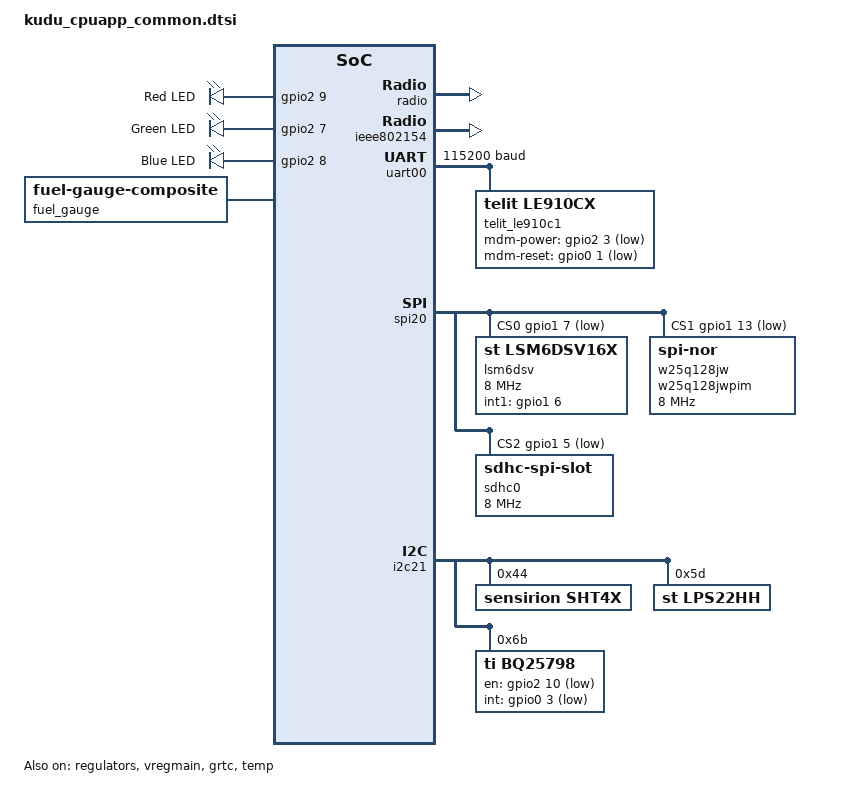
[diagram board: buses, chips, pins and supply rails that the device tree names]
/*
 * Copyright (c) 2025 Embeint Inc
 *
 * SPDX-License-Identifier: Apache-2.0
 */

/* This file is common to the secure and non-secure domain */

#include "kudu-pinctrl.dtsi"
#include <zephyr/dt-bindings/battery/battery.h>
#include <zephyr/dt-bindings/sensor/lps22hh.h>

/ {
	chosen {
		zephyr,console = &rtt0;
		zephyr,flash-controller = &rram_controller;
		zephyr,flash = &cpuapp_rram;
	};

	rtt0: rtt_chan0 {
		compatible = "segger,rtt-uart";
		status = "okay";
	};

	leds {
		compatible = "gpio-leds";
		led0: led_0 {
			gpios = <&gpio2 9 GPIO_ACTIVE_HIGH>;
			label = "Red LED";
		};
		led1: led_1 {
			gpios = <&gpio2 7 GPIO_ACTIVE_HIGH>;
			label = "Green LED";
		};
		led2: led_2 {
			gpios = <&gpio2 8 GPIO_ACTIVE_HIGH>;
			label = "Blue LED";
		};
	};

	fuel_gauge: fuel_gauge {
		compatible = "zephyr,fuel-gauge-composite";
		source-primary = <&bq25798>;
		device-chemistry = "lithium-ion-polymer";
		ocv-capacity-table-0 = <BATTERY_OCV_CURVE_LITHIUM_ION_POLYMER_DEFAULT>;
		charge-full-design-microamp-hours = <13400000>;
		fuel-gauge-channels;
	};

	aliases {
		led0 = &led0;
		led1 = &led1;
		led2 = &led2;
		watchdog0 = &wdt31;
		fuel-gauge0 = &fuel_gauge;
		environmental0 = &sht4x;
		environmental1 = &lps22hh;
		imu0 = &lsm6dsv;
		modem = &telit_le910c1;
		gnss = &telit_le910c1_gnss;
	};
};

&cpuapp_sram {
	status = "okay";
};

&lfxo {
	load-capacitors = "internal";
	load-capacitance-femtofarad = <9000>;
};

&hfxo {
	load-capacitors = "internal";
	load-capacitance-femtofarad = <9000>;
};

&regulators {
	status = "okay";
};

&vregmain {
	status = "okay";
	regulator-initial-mode = <NRF5X_REG_MODE_DCDC>;
};

&grtc {
	owned-channels = <0 1 2 3 4 5 6 7 8 9 10 11>;
	/* Channels 7-11 reserved for Zero Latency IRQs, 3-4 for FLPR */
	child-owned-channels = <3 4 7 8 9 10 11>;
	status = "okay";
};

&gpio0 {
	status = "okay";
};

&gpio1 {
	status = "okay";
};

&gpio2 {
	status = "okay";
};

&gpiote20 {
	status = "okay";
};

&gpiote30 {
	status = "okay";
};

&radio {
	status = "okay";
};

&ieee802154 {
	status = "okay";
};

&temp {
	status = "okay";
};

&clock {
	status = "okay";
};

&uart00 {
	status = "okay";
	pinctrl-0 = <&uart00_default>;
	pinctrl-1 = <&uart00_sleep>;
	pinctrl-names = "default", "sleep";
	current-speed = <115200>;
	hw-flow-control;

	telit_le910c1: telit_le910c1 {
		compatible = "telit,le910cx";
		status = "okay";
		mdm-power-gpios = <&gpio2 3 (GPIO_ACTIVE_LOW | GPIO_OPEN_DRAIN)>;
		mdm-reset-gpios = <&gpio0 1 (GPIO_ACTIVE_LOW | GPIO_OPEN_DRAIN)>;
		/*
		 * Telit modem can in theory handle up to 3.75 Mbps.
		 * While IP data appears to work fine at the high baudrate, for unknown
		 * reasons the AT DLCI channels stop responding after some time. The higher
		 * the baudrate, the sooner they stop responding.
		 * 921600 appears to be stable for hours
		 * 3500000 normally fails within a few minutes
		 */
		target-speed = <921600>;

		telit_le910c1_gnss: telit_le910c1_gnss {
			compatible = "telit,le910cx-gnss";
			status = "okay";
		};
	};
};

&spi20 {
	status = "okay";
	cs-gpios = <&gpio1 7 (GPIO_ACTIVE_LOW)>,
		   <&gpio1 13 (GPIO_ACTIVE_LOW)>,
		   <&gpio1 5 (GPIO_ACTIVE_LOW)>;
	pinctrl-0 = <&spi20_default>;
	pinctrl-1 = <&spi20_sleep>;
	pinctrl-names = "default", "sleep";

	lsm6dsv: lsm6dsv@0 {
		compatible = "st,lsm6dsv16x";
		status = "okay";
		reg = <0>;
		spi-max-frequency = <8000000>;
		int1-gpios = <&gpio1 6 (GPIO_ACTIVE_HIGH | GPIO_PULL_DOWN)>;
	};

	w25q128jw: w25q128jwpim@1 {
		compatible = "jedec,spi-nor";
		status = "okay";
		reg = <1>;
		spi-max-frequency = <8000000>;
		size = <134217728>;
		has-dpd;
		t-enter-dpd = <3000>;
		t-exit-dpd = <20000>;
		jedec-id = [ef 40 18];
	};

	sdhc0: sdhc@2 {
		compatible = "zephyr,sdhc-spi-slot";
		status = "okay";
		reg = <2>;
		spi-max-frequency = <8000000>;
		mmc: mmc {
			compatible = "zephyr,sdmmc-disk";
			status = "okay";
			disk-name = "SD";
		};
	};
};

&i2c21 {
	status = "okay";
	pinctrl-0 = <&i2c21_default>;
	pinctrl-1 = <&i2c21_sleep>;
	pinctrl-names = "default", "sleep";

	sht4x: sht4x@44 {
		compatible = "sensirion,sht4x";
		status = "okay";
		reg = <0x44>;
		repeatability = <2>;
	};

	lps22hh: lps22hh@5d {
		compatible = "st,lps22hh";
		status = "okay";
		reg = <0x5d>;
		odr = <LPS22HH_DT_ODR_POWER_DOWN>;
	};

	bq25798: bq25798@6b {
		compatible = "ti,bq25798";
		status = "okay";
		reg = <0x6b>;
		en-gpios = <&gpio2 10 GPIO_ACTIVE_LOW>;
		int-gpios = <&gpio0 3 (GPIO_ACTIVE_LOW | GPIO_PULL_UP)>;
		ts-rt1 = <5240>;
		ts-rt2 = <30310>;
		mppt-ratio = <81>;
		vac-ovp = <26>;
		input-current-limit = <999>;
		v-in-dpm = <3000>;
		acdrv1-en;
		acdrv2-en;
	};
};
